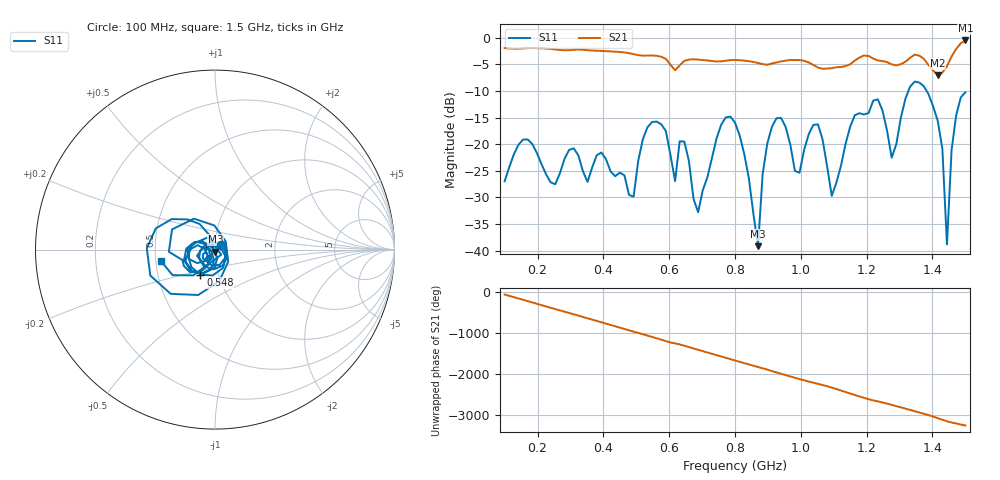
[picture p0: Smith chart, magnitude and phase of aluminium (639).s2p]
! NanoVNA-App
! Date: 2025-09-25 15:00:15
! Start: 100MHz Stop: 1,5GHz Points: 101
! S-Parameter data: F S11 S21 S12 S22
# Hz S RI R 50
!  Frequency  S11_Real  S11_Imag  S21_Real  S21_Imag  S12_Real  S12_Imag  S22_Real  S22_Imag
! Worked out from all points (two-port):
!   101 points, 100 MHz to 1.5 GHz, reference 50 ohm
!   highest |S21| = -0.48 dB at 1.5 GHz (marker M1); lowest = -7.0 dB at 1.416 GHz (marker M2)
!   |S21| within 3 dB of the highest: start of sweep to 571.1 MHz; 1.458 GHz to end of sweep (the widest 2 of 4)
!   lowest |S11| = -39.1 dB at 870 MHz (marker M3), VSWR 1.02, Z = 50.2 - j1.09 ohm
!   |S11| at or under -10 dB: start of sweep to 1.327 GHz; 1.382 GHz to end of sweep
!   S12 and S22 are empty: the file has one direction only
!   S11 on the Smith chart (normalised r, x): 100 MHz: 1.07, +0.06; 548 MHz: 0.82, -0.24; 1.5 GHz: 0.53, -0.07
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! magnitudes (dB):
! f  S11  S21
! 100 MHz  -27.0  -1.9
! 156 MHz  -19.1  -2.0
! 338 MHz  -25.1  -2.2
! 492 MHz  -29.8  -3.1
! 548 MHz  -15.8  -3.3
! 576 MHz  -16.2  -3.5
! 618 MHz  -26.9  -6.1
! 646 MHz  -19.5  -4.3
! 688 MHz  -32.8  -4.1
! 800 MHz  -15.9  -4.1
! 870 MHz  -39.1  -4.7
! 912 MHz  -16.7  -4.8
! 996 MHz  -25.3  -4.2
! 1.038 GHz  -16.4  -5.1
! 1.094 GHz  -29.7  -5.7
! 1.22 GHz  -11.8  -3.9
! 1.276 GHz  -22.5  -5.0
! 1.346 GHz  -8.2  -3.1
! 1.416 GHz  -15.6  -7.0
! 1.444 GHz  -38.8  -5.3
! 1.458 GHz  -21.1  -3.5
! 1.5 GHz  -10.2  -0.5
